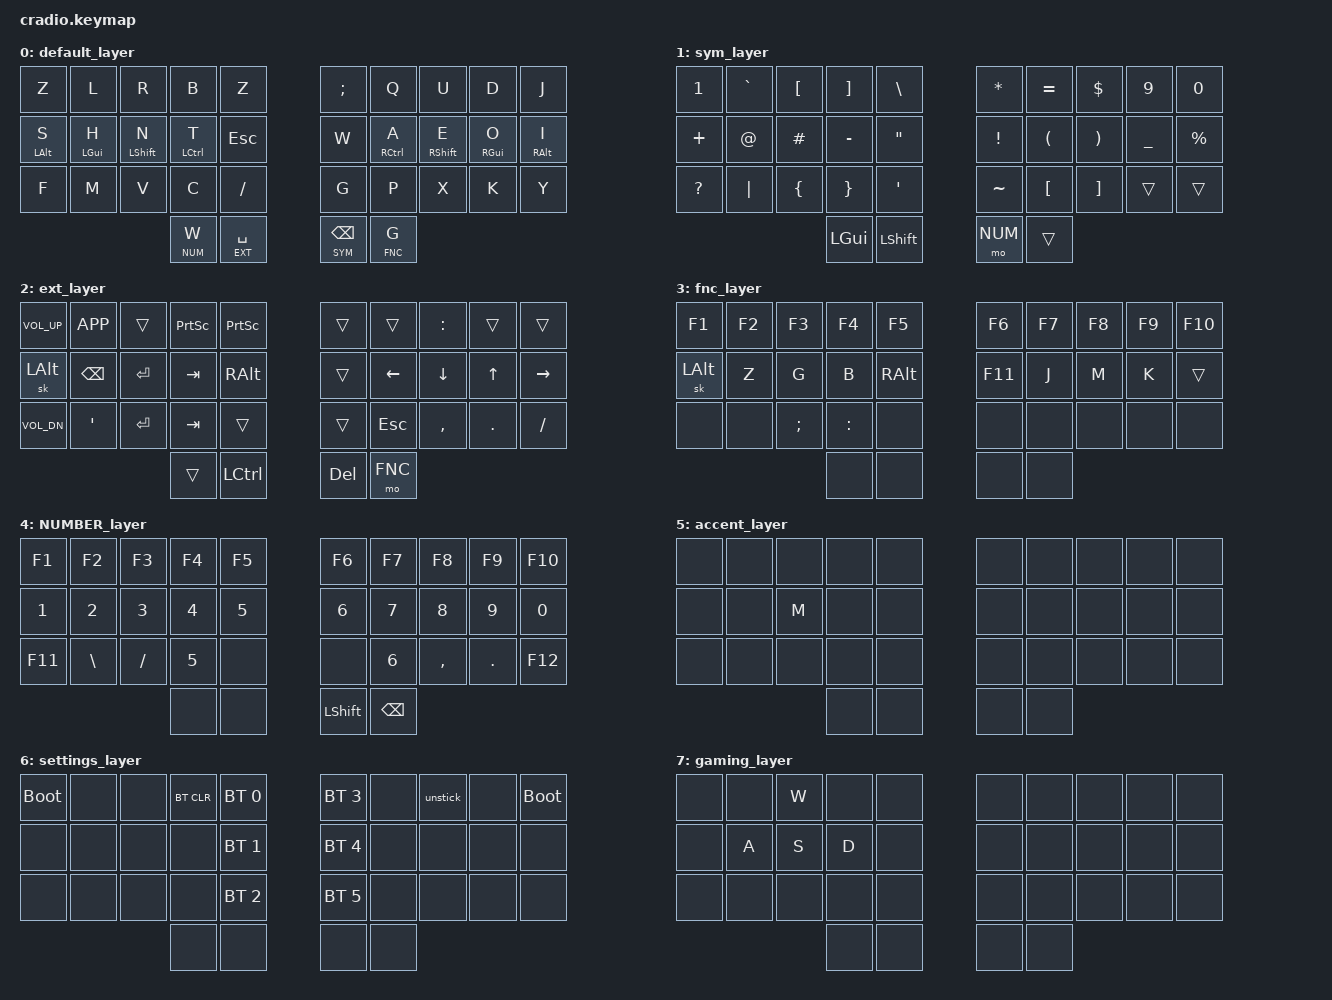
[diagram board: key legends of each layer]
/*
 * Copyright (c) 2020 The ZMK Contributors
 *
 * SPDX-License-Identifier: MIT
 */

#include <behaviors.dtsi>
#include <dt-bindings/zmk/keys.h>
#include <dt-bindings/zmk/bt.h>

// Layer definitions
    #define BASE 0
    #define SYM 1
    #define EXT 2
    #define FNC 3
    #define NUM 4
    #define ACCENT 5
		#define SETTINGS 6
		#define GAMEING 7
// -----------------

&mt {
 //   flavor = "tap-preferred";
 //   tapping_term_ms = <250>;
};



/ {
		macros {
				// sometimes my device thinks a modifier is being held down
				// pressing all modifiers fixes it.
				unstick: unstick {
					label = "ZM_unstick";
					compatible = "zmk,behavior-macro";
					#binding-cells = <0>;
					bindings
						= <&kp LSHIFT &kp RSHIFT &kp LCTRL &kp RCTRL &kp LALT &kp RALT &kp LGUI &kp RGUI>;
				};
		};

    combos {
        compatible = "zmk,combos";
				// both right thumb keys
        combo_accent {
            timeout-ms = <300>;
            key-positions = <32 33>;
            bindings = <&mo ACCENT>;
        };
				// internal-left & external-right thumb keys
				combo_sym2 {
						timeout-ms = <200>;
						key-positions = <31 33>;
						bindings = <&mo NUM>;
				};
				// both left thumb keys
				combo_settings {
						timeout-ms = <300>;
						key-positions = <30 31>;
						bindings = <&mo SETTINGS>;
				};
				combo_shift{
						timeout-ms = <300>;
						key-positions = <31 32>;
						bindings = <&kp LSHIFT>;
				};
    };

behaviors {
        hm: homerow_mods {
            compatible = "zmk,behavior-hold-tap";
            label = "HOMEROW_MODS";
            #binding-cells = <2>;
            tapping-term-ms = <200>;
            quick_tap_ms = <0>;
            flavor = "tap-preferred";
            bindings = <&kp>, <&kp>;
        };
	td: tapdance {
            compatible = "zmk,behavior-hold-tap";
            label = "TAPDANCE";
            #binding-cells = <2>;
            tapping-term-ms = <150>;
            quick_tap_ms = <0>;
            flavor = "tap-preferred";
            bindings = <&kp>, <&kp>;
        };
    };
	 

    keymap {
            compatible = "zmk,keymap";

				
        // Base alpha layer
//       		default_layer {
//		bindings = <
//		&kp Q &kp W &kp F &kp P &kp B           &kp J &kp L  &kp U     &kp Y   &kp SEMICOLON
//		&hm LALT A &hm LGUI R &hm LSHIFT S &hm LCTRL T &kp G           &kp M &hm RCTRL N  &hm RSHIFT E     &hm RGUI I &hm RALT O
//		&kp X &kp C &kp D &kp V &kp Z           &kp K &kp H  &kp COMMA &kp DOT &kp SLASH
//             //&lt NUM G &lt EXT SPACE           &lt SYM BSPC &lt FNC M
//             &lt NUM W &lt EXT SPACE           &lt SYM BSPC &lt FNC G
//		>;
//		};
       		default_layer {
		bindings = <
		&kp Z &kp L &kp R &kp B &kp Z           &kp SEMICOLON &kp Q  &kp U     &kp D   &kp J
		&hm LALT S &hm LGUI H &hm LSHIFT N &hm LCTRL T &kp ESC           &kp W &hm RCTRL A  &hm RSHIFT E     &hm RGUI O &hm RALT I
		&kp F &kp M &kp V &kp C &kp SLASH           &kp G &kp P  &kp X &kp K &kp Y
             &lt NUM W &lt EXT SPACE           &lt SYM BSPC &lt FNC G
		>;
		};

        // Numbers and high frequency symbols
       		sym_layer {
		bindings = <
			&kp N1 &kp GRAVE &kp LBKT &kp RBKT &kp BSLH		                                    &kp STAR &kp EQUAL &kp DLLR &kp N9 &kp N0
		&kp PLUS &kp AT &kp HASH &kp MINUS &kp DQT  			&kp EXCL &kp LPAR &kp RPAR &kp UNDER &kp PRCNT
		&kp QMARK &kp PIPE &kp LBRC &kp RBRC &kp SQT 					&kp TILDE &kp LBKT &kp RBKT &trans &trans
                                        &kp LGUI  &kp LSHIFT       &mo NUM &trans
		>;
		};

        // Main modifiers and arrow keys
		    ext_layer {
		bindings = <
		&kp K_VOL_UP  &kp K_APP &trans  &kp PSCRN  &kp PSCRN    			        &trans  &trans &kp COLON &trans &trans
		&sk LALT &kp BSPC &kp ENTER &kp TAB  &kp RALT 			&trans &kp LEFT  &kp DOWN  &kp UP &kp RIGHT
		&kp K_VOL_DN  &kp SQT &kp ENTER &kp TAB   &trans          &trans &kp ESC &kp COMMA &kp DOT &kp SLASH
					                        &trans &kp LCTRL    &kp DEL  &mo FNC 
		>;
		};

        // Function keys with modifiers
       		fnc_layer {
		bindings = <
		&kp F1 &kp F2 &kp F3 &kp F4 &kp F5                  &kp F6 &kp F7 &kp F8 &kp F9 &kp F10 
		&sk LALT &kp Z &kp G &kp B &kp RALT     &kp F11 &kp J  &kp M &kp K &trans
		&none &none &kp SEMICOLON &kp COLON &none				          &none &none &none &none &none 
          				           &none &none              &none &none  
		>;
		};

        // Low frequency symbols.
       		NUMBER_layer {
		bindings = <
		&kp F1 &kp F2 &kp F3 &kp F4 &kp F5         &kp F6 &kp F7 &kp F8 &kp F9 &kp F10 
		&kp N1 &kp N2 &kp N3 &kp N4 &kp N5		                                    &kp N6 &kp N7 &kp N8 &kp N9 &kp N0
		&kp F11 &kp BSLH &kp SLASH &kp N5 &none         &none &kp N6 &kp COMMA &kp DOT &kp F12 

          				           												&none &none        	&kp LSHIFT &kp BSPC
		>;
		};

        // Used to type regional accents.
       		accent_layer {
		bindings = <
		&none &none &none &none &none                         &none &none &none &none &none 
		&none &none &kp M &none &none                         &none &none &none &none &none
		&none &none &none &none &none                         &none &none &none &none &none
          				     &none &none                         &none &none 
		>;
		};

        // Used to change the keyboard's settings.
       		settings_layer {
		bindings = <
		&bootloader &none &none &bt BT_CLR &bt BT_SEL 0               &bt BT_SEL 3 &none &unstick &none &bootloader 
		&none &none &none &none      &bt BT_SEL 1 						  &bt BT_SEL 4 &none &none &none &none
		&none &none &none &none      &bt BT_SEL 2               &bt BT_SEL 5 &none &none &none &none
          				     &none &none                         &none &none 
		>;
		};
       		gaming_layer {
		bindings = <
		&none &none &kp W &none &none               &none &none &none &none &none 
		&none &kp A &kp S &kp D &none 				  &none &none &none &none &none
		&none &none &none &none &none               &none &none &none &none &none
          				     &none &none                         &none &none 
		>;
		};
        
	};
};
